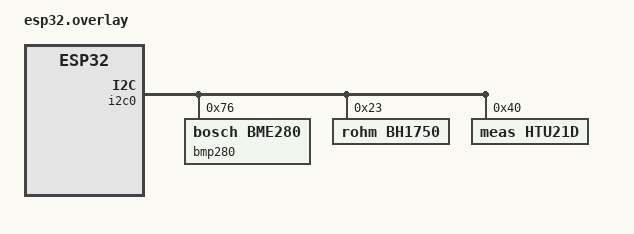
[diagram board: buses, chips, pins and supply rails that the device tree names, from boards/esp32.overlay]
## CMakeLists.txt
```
# SPDX-License-Identifier: Apache-2.0

cmake_minimum_required(VERSION 3.20.0)
find_package(Zephyr REQUIRED HINTS $ENV{ZEPHYR_BASE})
project(idiocy)

FILE(GLOB app_sources src/*.c)
target_sources(app PRIVATE ${app_sources})
```

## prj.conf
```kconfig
CONFIG_SENSOR=y
CONFIG_LV_Z_MEM_POOL_NUMBER_BLOCKS=8
CONFIG_MAIN_STACK_SIZE=2048
CONFIG_DISPLAY=y
CONFIG_DISPLAY_LOG_LEVEL_ERR=y
CONFIG_LOG=y
CONFIG_LVGL=y
CONFIG_LV_MEM_CUSTOM=y
CONFIG_LV_USE_LOG=y
CONFIG_LV_USE_LABEL=y
CONFIG_LV_COLOR_16_SWAP=y
CONFIG_BT=y
CONFIG_BT_SMP=y
CONFIG_BT_PERIPHERAL=y
CONFIG_BT_DEVICE_NAME="ESPerimental idIoT"
CONFIG_BT_DEVICE_APPEARANCE=768
```

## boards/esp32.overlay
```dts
/*
 * Copyright (c) 2022 Gaël PORTAY
 *
 * SPDX-License-Identifier: LGPL-2.1-or-later
 */

&i2c0 {
	status = "okay";
	bmp280@76 {
		compatible = "bosch,bme280";
		reg = <0x76>;
	};
	bh1750@23 {
		compatible = "rohm,bh1750";
		reg = <0x23>;
	};
	htu21d@40 {
		compatible = "meas,htu21d";
		reg = <0x40>;
	};
};
```

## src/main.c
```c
/*
 * Copyright (c) 2022 Gaël PORTAY
 *
 * SPDX-License-Identifier: Apache-2.0
 */

#include <zephyr/kernel.h>
#include <zephyr/device.h>
#include <zephyr/devicetree.h>
#include <zephyr/drivers/sensor.h>
#include <zephyr/drivers/display.h>
#include <zephyr/bluetooth/bluetooth.h>
#include <zephyr/bluetooth/hci.h>
#include <zephyr/bluetooth/conn.h>
#include <zephyr/bluetooth/uuid.h>
#include <zephyr/bluetooth/gatt.h>
#include <zephyr/bluetooth/services/bas.h>
#include <zephyr/sys/byteorder.h>
#include <lvgl.h>

static uint8_t ble_connections;

static lv_obj_t *ble_label;

static ssize_t read_temperature(struct bt_conn *conn,
			   const struct bt_gatt_attr *attr,
			   void *buf,
			   uint16_t len,
			   uint16_t offset)
{
	const struct sensor_value *val = attr->user_data;
	int16_t value = sys_cpu_to_le16(val->val1) * 100 + \
			sys_cpu_to_le16(val->val2) / 10000;

	return bt_gatt_attr_read(conn, attr, buf, len, offset, &value,
				 sizeof(value));
}

static ssize_t read_pressure(struct bt_conn *conn,
			     const struct bt_gatt_attr *attr,
			     void *buf,
			     uint16_t len,
			     uint16_t offset)
{
	const struct sensor_value *val = attr->user_data;
	uint32_t value = sys_cpu_to_le16(val->val1) * 10 + \
			 sys_cpu_to_le16(val->val2) / 100000;

	return bt_gatt_attr_read(conn, attr, buf, len, offset, &value,
				 sizeof(value));
}

static ssize_t read_humidity(struct bt_conn *conn,
			     const struct bt_gatt_attr *attr,
			     void *buf,
			     uint16_t len,
			     uint16_t offset)
{
	const struct sensor_value *val = attr->user_data;
	uint16_t value = sys_cpu_to_le16(val->val1) * 100 + \
			 sys_cpu_to_le16(val->val2) / 10000;

	return bt_gatt_attr_read(conn, attr, buf, len, offset, &value,
				 sizeof(value));
}

static ssize_t read_illuminance(struct bt_conn *conn,
			   const struct bt_gatt_attr *attr,
			   void *buf,
			   uint16_t len,
			   uint16_t offset)
{
	const struct sensor_value *val = attr->user_data;
	uint32_t value = sys_cpu_to_le16(val->val1);

	return bt_gatt_attr_read(conn, attr, buf, len, offset, &value,
				 sizeof(value)-1); /* 24 bits */
}

static struct sensor_value bme280_temp;
static struct sensor_value bme280_press;
static struct sensor_value bh1750_light;
static struct sensor_value htu21d_humidity;
static struct sensor_value htu21d_temp;

#define CUSTOM_UUID_ILLUMINANCE &ess_illuminance_uuid.uuid

/* Characteristic UUID 4f371c81-f2e5-414b-9feb-fcda9c55fee1 */
static struct bt_uuid_128 ess_illuminance_uuid = BT_UUID_INIT_128(
                BT_UUID_128_ENCODE(0x4f371c81, 0xf2e5, 0x414b, 0x9feb, 0xfcda9c55fee1));

struct bt_gatt_cpf illuminance_cpf = {
	.format = 0,
	.exponent = 1,
	.unit = 0x2731, /* illuminance (lux) */
	.name_space = 0,
	.description = 0,
};

BT_GATT_SERVICE_DEFINE(ess_svc,
	BT_GATT_PRIMARY_SERVICE(BT_UUID_ESS),
	BT_GATT_CHARACTERISTIC(BT_UUID_TEMPERATURE,
			       BT_GATT_CHRC_READ,
			       BT_GATT_PERM_READ,
			       read_temperature,
			       NULL,
			       &bme280_temp),
	BT_GATT_CHARACTERISTIC(BT_UUID_PRESSURE,
			       BT_GATT_CHRC_READ,
			       BT_GATT_PERM_READ,
			       read_pressure,
			       NULL,
			       &bme280_press),
	BT_GATT_CHARACTERISTIC(BT_UUID_HUMIDITY,
			       BT_GATT_CHRC_READ,
			       BT_GATT_PERM_READ,
			       read_humidity,
			       NULL,
			       &htu21d_humidity),
	BT_GATT_CHARACTERISTIC(CUSTOM_UUID_ILLUMINANCE,
			       BT_GATT_CHRC_READ,
			       BT_GATT_PERM_READ,
			       read_illuminance,
			       NULL,
			       &bh1750_light),
	BT_GATT_CUD("Illuminance", BT_GATT_PERM_READ),
	BT_GATT_CPF(&illuminance_cpf),
);

static const struct bt_data ad[] = {
	BT_DATA_BYTES(BT_DATA_FLAGS, (BT_LE_AD_GENERAL | BT_LE_AD_NO_BREDR)),
	BT_DATA_BYTES(BT_DATA_GAP_APPEARANCE, 0x00, 0x03),
	BT_DATA_BYTES(BT_DATA_UUID16_ALL, BT_UUID_16_ENCODE(BT_UUID_ESS_VAL)),
};

static void connected(struct bt_conn *conn, uint8_t err)
{
	ble_connections++;

	if (ble_connections)
		lv_label_set_text(ble_label, LV_SYMBOL_BLUETOOTH);
	else
		lv_label_set_text(ble_label, "");
}

static void disconnected(struct bt_conn *conn, uint8_t reason)
{
	ble_connections--;

	if (ble_connections)
		lv_label_set_text(ble_label, LV_SYMBOL_BLUETOOTH);
	else
		lv_label_set_text(ble_label, "");
}

BT_CONN_CB_DEFINE(conn_callbacks) = {
	.connected = connected,
	.disconnected = disconnected,
};

static void auth_passkey_display(struct bt_conn *conn, unsigned int passkey)
{
	lv_label_set_text_fmt(ble_label, LV_SYMBOL_BLUETOOTH "%06u", passkey);
}

static void auth_cancel(struct bt_conn *conn)
{
	if (ble_connections)
		lv_label_set_text(ble_label, LV_SYMBOL_BLUETOOTH);
	else
		lv_label_set_text(ble_label, "");
}

static struct bt_conn_auth_cb auth_cb_display = {
	.passkey_display = auth_passkey_display,
	.passkey_entry = NULL,
	.cancel = auth_cancel,
};

static const struct device *get_bme280_device(void)
{
	const struct device *const dev = DEVICE_DT_GET_ANY(bosch_bme280);

	if (dev == NULL)
		return NULL;

	if (!device_is_ready(dev))
		return NULL;

	return dev;
}

static const struct device *get_bh1750_device(void)
{
	const struct device *const dev = DEVICE_DT_GET_ANY(rohm_bh1750);

	if (dev == NULL)
		return NULL;

	if (!device_is_ready(dev))
		return NULL;

	return dev;
}

static const struct device *get_htu21d_device(void)
{
	const struct device *const dev = DEVICE_DT_GET_ANY(meas_htu21d);

	if (dev == NULL)
		return NULL;

	if (!device_is_ready(dev))
		return NULL;

	return dev;
}

void main(void)
{
	const struct device *bme280_dev, *bh1750_dev, *htu21d_dev;
	const struct device *display_dev;
	lv_obj_t *light_label, *temp_label, *press_label, *humidity_label;
	int err;

	bme280_dev = get_bme280_device();
	if (bme280_dev == NULL)
		return;

	bh1750_dev = get_bh1750_device();
	if (bh1750_dev == NULL)
		return;

	htu21d_dev = get_htu21d_device();
	if (htu21d_dev == NULL)
		return;

	display_dev = DEVICE_DT_GET(DT_CHOSEN(zephyr_display));
	if (!device_is_ready(display_dev))
		return;

	ble_label = lv_label_create(lv_scr_act());
	lv_label_set_text(ble_label, "");
	lv_obj_align(ble_label, LV_ALIGN_TOP_RIGHT, 0, 0);

	light_label = lv_label_create(lv_scr_act());
	lv_label_set_text(light_label, "0lux");
	lv_obj_align(light_label, LV_ALIGN_TOP_LEFT, 0, 0);

	temp_label = lv_label_create(lv_scr_act());
	lv_label_set_text(temp_label, "0.0°C");
	lv_obj_align(temp_label, LV_ALIGN_CENTER, 0, 0);

	press_label = lv_label_create(lv_scr_act());
	lv_label_set_text(press_label, "0.0Pa");
	lv_obj_align(press_label, LV_ALIGN_BOTTOM_LEFT, 0, 0);

	humidity_label = lv_label_create(lv_scr_act());
	lv_label_set_text(humidity_label, "0%");
	lv_obj_align(humidity_label, LV_ALIGN_BOTTOM_RIGHT, 0, 0);

	lv_task_handler();
	display_blanking_off(display_dev);

	err = bt_enable(NULL);
	if (err)
		return;

	err = bt_le_adv_start(BT_LE_ADV_CONN_NAME, ad, ARRAY_SIZE(ad), NULL, 0);
	if (err)
		return;

	err = bt_conn_auth_cb_register(&auth_cb_display);
	if (err)
		return;

	while (1) {
		sensor_sample_fetch(bme280_dev);
		sensor_channel_get(bme280_dev, SENSOR_CHAN_AMBIENT_TEMP,
				   &bme280_temp);
		sensor_channel_get(bme280_dev, SENSOR_CHAN_PRESS,
				   &bme280_press);
		sensor_sample_fetch(bh1750_dev);
		sensor_channel_get(bh1750_dev, SENSOR_CHAN_LIGHT,
				   &bh1750_light);
		sensor_sample_fetch(htu21d_dev);
		sensor_channel_get(htu21d_dev, SENSOR_CHAN_HUMIDITY,
				   &htu21d_humidity);
		sensor_channel_get(htu21d_dev, SENSOR_CHAN_AMBIENT_TEMP,
				   &htu21d_temp);

		printk("temp: %d.%06d; press: %d.%06d; light: %d.%06d; humidity: %d.%06d; temp2: %d.%06d\n",
		      bme280_temp.val1, bme280_temp.val2, bme280_press.val1,
		      bme280_press.val2, bh1750_light.val1, bh1750_light.val2,
		      htu21d_humidity.val1, htu21d_humidity.val2,
		      htu21d_temp.val1, htu21d_temp.val2);

		lv_label_set_text_fmt(light_label, "%dlux", bh1750_light.val1);

		lv_label_set_text_fmt(temp_label, "%d.%d°C", bme280_temp.val1,
				      bme280_temp.val2 / 100000);

		lv_label_set_text_fmt(press_label, "%d.%dPa",
				      bme280_press.val1,
				      bme280_press.val2 / 100000);

		lv_label_set_text_fmt(humidity_label, "%d%%",
				      htu21d_humidity.val1);

		lv_task_handler();
		k_sleep(K_MSEC(1000));
	}
}
```
